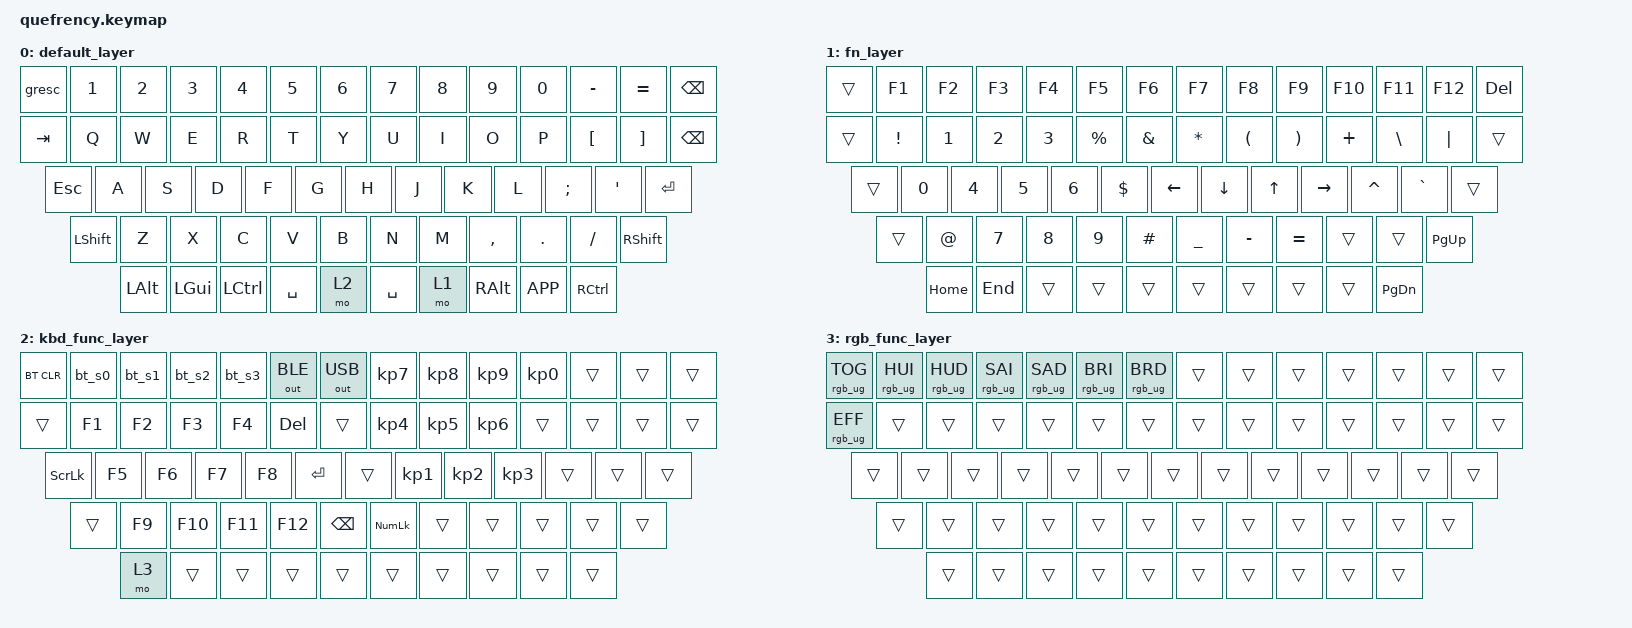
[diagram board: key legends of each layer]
/*
 * Copyright (c) 2020 The ZMK Contributors
 *
 * SPDX-License-Identifier: MIT
 */

#include <behaviors.dtsi>
#include <dt-bindings/zmk/rgb.h>
#include <dt-bindings/zmk/bt.h>
#include <dt-bindings/zmk/outputs.h>
#include <dt-bindings/zmk/ext_power.h>
#include <dt-bindings/zmk/keys.h>

/ {
    behaviors {
        gresc: grave_escape {
            label = "GRAVE_ESCAPE";
            compatible = "zmk,behavior-mod-morph";
            #binding-cells = <0>;
            bindings = <&kp ESC>, <&kp GRAVE>;
            mods = <(MOD_LGUI|MOD_LSFT|MOD_RGUI|MOD_RSFT)>;
        };
    };

    macros {
        kvm_s1: kvm_s1 {
            label = "kvm_s1";
            compatible = "zmk,behavior-macro";
            #binding-cells = <0>;
            tap-ms = <30>;
            bindings = <&macro_tap_time 150>, <&macro_tap &kp SLCK &kp SLCK &kp KP_N1>;
        };
        kvm_s2: kvm_s2 {
            label = "kvm_s2";
            compatible = "zmk,behavior-macro";
            #binding-cells = <0>;
            tap-ms = <30>;
            bindings = <&macro_tap_time 125>, <&macro_tap &kp SLCK &kp SLCK &kp KP_N2>;
        };
        kvm_s3: kvm_s3 {
            label = "kvm_s3";
            compatible = "zmk,behavior-macro";
            #binding-cells = <0>;
            tap-ms = <30>;
            bindings = <&macro_tap_time 75>, <&macro_tap &kp SLCK &kp SLCK &kp KP_N3>;
        };
        kvm_s4: kvm_s4 {
            label = "kvm_s4";
            compatible = "zmk,behavior-macro";
            #binding-cells = <0>;
            tap-ms = <30>;
            bindings = <&macro_tap_time 50>, <&macro_tap &kp SLCK &kp SLCK &kp KP_N4>;
        };
        bt_s0: bt_s0 {
            label = "bt_s0";
            compatible = "zmk,behavior-macro";
            #binding-cells = <0>;
            bindings = <&macro_tap &out OUT_BLE &bt BT_SEL 0>;
        };
        bt_s1: bt_s1 {
            label = "bt_s1";
            compatible = "zmk,behavior-macro";
            #binding-cells = <0>;
            bindings = <&macro_tap &out OUT_BLE &bt BT_SEL 1>;
        };
        bt_s2: bt_s2 {
            label = "bt_s2";
            compatible = "zmk,behavior-macro";
            #binding-cells = <0>;
            bindings = <&macro_tap &out OUT_BLE &bt BT_SEL 2>;
        };
        bt_s3: bt_s3 {
            label = "bt_s3";
            compatible = "zmk,behavior-macro";
            #binding-cells = <0>;
            bindings = <&macro_tap &out OUT_BLE &bt BT_SEL 3>;
        };
    };

    keymap {
        compatible = "zmk,keymap";

// ----------------------------------------------      -----------------------------------------------------
// | GESC |  1   |  2  |  3   |  4  |  5  |  6  |      |  7  |  8  |  9  |  0  |  -  |  =  |  BKSPC |
// | TAB   |  Q   |  W  |  E   |  R  |  T  |        |  Y  |  U  |  I  |  O  |  P  |  [  |  ]  |  \  |
// | ESC    |  A   |  S  |  D   |  F  |  G  |        |  H  |  J  |  K  |  L  |  ;  |  '  |   ENTER  |
// | SHIFT   |  Z   |  X  |  C  |  V   |  B  |        |  N  |  M  |  ,  |  .  |  /   |    RSHFT     |
// | LALT  | LGUI | LCTRL |   SPACE   | FN2  |        |    SPACE  |  FN  | RALT | RGUI | RCTRL |
// -------------------------------------------        ------------------------------------------------------

        default_layer {
            bindings = <
    &gresc   &kp N1   &kp N2   &kp N3   &kp N4   &kp N5  &kp N6 /**/   &kp N7    &kp N8   &kp N9    &kp N0    &kp MINUS &kp EQUAL &kp BSPC
    &kp TAB    &kp Q    &kp W    &kp E    &kp R    &kp T        /**/ &kp Y     &kp U    &kp I     &kp O     &kp P     &kp LBKT  &kp RBKT &kp BSPC
    &kp ESC     &kp A    &kp S    &kp D    &kp F  &kp G         /**/  &kp H     &kp J    &kp K     &kp L     &kp SEMI  &kp SQT   &kp RET
    &kp LSHFT     &kp Z    &kp X    &kp C    &kp V  &kp B       /**/    &kp N     &kp M    &kp COMMA &kp DOT   &kp FSLH  &kp RSHFT
    &kp LALT    &kp LGUI  &kp LCTRL      &kp SPACE     &mo 2    /**/ &kp SPACE &mo 1    &kp RALT  &kp K_APP  &kp RCTRL
            >;
        };


        fn_layer {
            bindings = <
    &trans     &kp F1     &kp F2   &kp F3    &kp F4   &kp F5    &kp F6   /**/   &kp F7   &kp F8   &kp F9   &kp F10   &kp F11 &kp F12     &kp DEL
    &trans      &kp EXCL   &kp N1   &kp N2    &kp N3   &kp PRCNT         /**/ &kp AMPS  &kp STAR &kp LPAR &kp RPAR  &kp PLUS  &kp BSLH  &kp PIPE  &trans
    &trans       &kp N0     &kp N4   &kp N5    &kp N6   &kp DLLR         /**/  &kp LEFT  &kp DOWN &kp UP   &kp RIGHT &kp CARET  &kp GRAVE  &trans
    &trans         &kp AT     &kp N7   &kp N8    &kp N9   &kp HASH       /**/    &kp UNDER &kp MINUS &kp EQUAL &trans  &trans  &kp PG_UP
    &kp HOME          &kp END     &trans             &trans      &trans  /**/    &trans        &trans &trans &trans  &kp PG_DN
            >;
        };

        kbd_func_layer {
            bindings = <
    &bt BT_CLR &bt_s0       &bt_s1       &bt_s2       &bt_s3       &out OUT_BLE &out OUT_USB /**/   &kp KP_N7 &kp KP_N8 &kp KP_N9 &kp KP_N0  &trans  &trans  &trans
    &trans      &kp F1   &kp F2     &kp F3       &kp F4       &kp DEL                        /**/ &trans &kp KP_N4 &kp KP_N5 &kp KP_N6  &trans  &trans  &trans &trans
    &kp SLCK      &kp F5       &kp F6       &kp F7       &kp F8    &kp RET                   /**/  &trans &kp KP_N1 &kp KP_N2 &kp KP_N3  &trans  &trans  &trans
    &trans           &kp F9       &kp F10     &kp F11      &kp F12    &kp BSPC               /**/     &kp KP_NUM &trans &trans &trans  &trans  &trans
    &mo 3             &trans         &trans           &trans              &trans             /**/    &trans        &trans &trans &trans  &trans
            >;
        };

//         kbd_func_layer {
//             bindings = <
//     &bt BT_CLR &bt_s0       &bt_s1       &bt_s2       &bt_s3       &out OUT_BLE &out OUT_USB /**/   &kp KP_N7 &kp KP_N8 &kp KP_N9 &kp KP_N0  &trans  &trans  &trans
//     &trans      &kp PG_UP &kp HOME   &kp UP      &kp END      &kp DEL                        /**/ &trans &kp KP_N4 &kp KP_N5 &kp KP_N6  &trans  &trans  &trans &trans
//     &kp SLCK      &kp PG_DOWN  &kp LEFT     &kp DOWN     &kp RIGHT &kp RET                   /**/  &trans &kp KP_N1 &kp KP_N2 &kp KP_N3  &trans  &trans  &trans
//     &trans           &trans       &trans      &trans       &trans     &kp BSPC               /**/     &kp KP_NUM &trans &trans &trans  &trans  &trans
//     &mo 3             &trans         &trans           &trans              &trans             /**/    &trans        &trans &trans &trans  &trans
//             >;
//         };

        rgb_func_layer {
            bindings = <
    &rgb_ug RGB_TOG &rgb_ug RGB_HUI  &rgb_ug RGB_HUD &rgb_ug RGB_SAI &rgb_ug RGB_SAD &rgb_ug RGB_BRI &rgb_ug RGB_BRD  /**/   &trans    &trans    &trans    &trans     &trans  &trans  &trans
    &rgb_ug RGB_EFF &trans   &trans     &trans       &trans       &trans                                              /**/ &trans &trans    &trans    &trans     &trans  &trans  &trans &trans
    &trans        &trans       &trans       &trans       &trans    &trans                                             /**/  &trans &trans    &trans    &trans     &trans  &trans  &trans
    &trans         &trans     &trans      &trans       &trans     &trans                                              /**/     &trans     &trans &trans &trans  &trans  &trans
    &trans            &trans         &trans           &trans              &trans                                      /**/    &trans        &trans &trans &trans  &trans
            >;
        };
    };
};

//// / {
////     keymap {
////         compatible = "zmk,keymap";
////
//// // ----------------------------------------------      -----------------------------------------------------
//// // | ESC  |  1   |  2  |  3   |  4  |  5  |  6  |      |  7  |  8  |  9  |  0  |  -  |  =  |  BKSPC |
//// // | TAB   |  Q   |  W  |  E   |  R  |  T  |        |  Y  |  U  |  I  |  O  |  P  |  [  |  ]  |  \  |
//// // | LCTRL  |  A   |  S  |  D   |  F  |  G  |        |  H  |  J  |  K  |  L  |  ;  |  '  |   ENTER  |
//// // | SHIFT   |  Z   |  X  |  C  |  V   |  B  |        |  N  |  M  |  ,  |  .  |  /  |    RSHFT
//// // | LCTRL   | LGUI | LALT |   SPACE   | FN  |        |    SPACE    | FN | RALT | RCTRL | LFT |
//// // -------------------------------------------        ------------------------------------------------------
////
////         default_layer {
////             bindings = <
////     &kp ESC   &kp N1   &kp N2   &kp N3   &kp N4 &kp N5 &kp N6 /**/   &kp N7    &kp N8   &kp N9    &kp N0    &kp MINUS &kp EQUAL &kp BSPC
////     &kp TAB    &kp Q    &kp W    &kp E    &kp R  &kp T        /**/ &kp Y     &kp U    &kp I     &kp O     &kp P     &kp LBKT  &kp RBKT &kp BSLH
////     &kp LCTRL   &kp A    &kp S    &kp D    &kp F  &kp G       /**/  &kp H     &kp J    &kp K     &kp L     &kp SEMI  &kp SQT   &kp RET
////     &kp LSHFT     &kp Z    &kp X    &kp C    &kp V  &kp B     /**/    &kp N     &kp M    &kp COMMA &kp DOT   &kp FSLH  &kp RSHFT
////     &kp LCTRL    &kp LGUI &kp LALT      &kp SPACE     &mo 1   /**/ &kp SPACE &mo 1    &kp RALT  &kp RGUI  &kp RCTRL
////             >;
////         };
////
//// // ----------------------------------------------     -----------------------------------------------------
//// // |BT_CLR|  F1  |  F2 |  F3  |  F4 |  F5 |  F6 |     |  F7 |  F8 |  F9 | F10 | F11 | F12 |        |BT_CLR|
//// // |       | BT-0 | BT-1| BT-2 |     |     |       |     |     |     |     |     |     |     |     |      |
//// // |        |      |     |      |     |     |       |     |     |     |     |     |     |          |      |
//// // |         |      |     |     |      |     |       |     |     |     |     |     |         |     |      |
//// // |         |      |      |           |     |       |             |      |    |       |     |     |      |
//// // -------------------------------------------       ------------------------------------------------------
////
////         fn_layer {
////             bindings = <
////     &bt BT_CLR &kp F1       &kp F2       &kp F3       &kp F4 &kp F5 &kp F6  /**/   &kp F7 &kp F8 &kp F9 &kp F10 &kp F11 &kp F12 &trans
////     &trans      &bt BT_SEL 0 &bt BT_SEL 1 &bt BT_SEL 2 &trans    &trans     /**/ &trans &trans &trans &trans  &trans  &trans  &trans &trans
////     &trans       &trans       &trans       &trans       &trans    &trans    /**/  &trans &trans &trans &trans  &trans  &trans  &trans
////     &trans         &trans       &trans       &trans       &trans     &trans /**/     &trans &trans &trans &trans  &trans  &trans
////     &trans          &tran       &trans           &trans              &trans /**/    &trans        &trans &trans &trans  &trans
////             >;
////         };
////     };
//// };

// /*
//  * Copyright (c) 2020 The ZMK Contributors
//  *
//  * SPDX-License-Identifier: MIT
//  */

// #include <behaviors.dtsi>
// #include <dt-bindings/zmk/bt.h>
// #include <dt-bindings/zmk/outputs.h>
// #include <dt-bindings/zmk/keys.h>
//
// / {
//     behaviors {
//         gresc: grave_escape {
//             compatible = "zmk,behavior-mod-morph";
//             label = "GRAVE_ESCAPE";
//             #binding-cells = <0>;
//             bindings = <&kp ESC>, <&kp GRAVE>;
//             mods = <(MOD_LGUI|MOD_LSFT|MOD_RGUI|MOD_RSFT)>;
//         };
//     };
//     macros {
//         bt_s0: bt_s0 {
//             label = "bt_s0";
//             compatible = "zmk,behavior-macro";
//             #binding-cells = <0>;
//             bindings = <&macro_tap &out OUT_BLE &bt BT_SEL 0>;
//         };
//         bt_s1: bt_s1 {
//             label = "bt_s1";
//             compatible = "zmk,behavior-macro";
//             #binding-cells = <0>;
//             bindings = <&macro_tap &out OUT_BLE &bt BT_SEL 1>;
//         };
//         bt_s2: bt_s2 {
//             label = "bt_s2";
//             compatible = "zmk,behavior-macro";
//             #binding-cells = <0>;
//             bindings = <&macro_tap &out OUT_BLE &bt BT_SEL 2>;
//         };
//         bt_s3: bt_s3 {
//             label = "bt_s3";
//             compatible = "zmk,behavior-macro";
//             #binding-cells = <0>;
//             bindings = <&macro_tap &out OUT_BLE &bt BT_SEL 3>;
//         };
//     };
//     keymap {
//         compatible = "zmk,keymap";
//
// // ----------------------------------------------      -----------------------------------------------------
// // | ESC  |  1   |  2  |  3   |  4  |  5  |  6  |      |  7  |  8  |  9  |  0  |  -  |  =  | BKSPC |
// // | TAB   |  Q   |  W  |  E   |  R  |  T  |        |  Y  |  U  |  I  |  O  |  P  |  [  |  ]  |  \ |
// // | LCTRL  |  A   |  S  |  D   |  F  |  G  |        |  H  |  J  |  K  |  L  |  ;  |  '  |   ENTER |
// // | SHIFT   |  Z   |  X  |  C   |  V   |  B  |        |  N  |  M  |  ,  |  .  |  /   |    RSHFT   |
// //   | LCTL | LGUI | LALT |    SPACE    | FN2 |        |   SPACE   |  FN  | RALT | MENU | RCTL |
// // -------------------------------------------        ------------------------------------------------------
//
//         default_layer {
//             bindings = <
//     &gresc   &kp N1   &kp N2   &kp N3   &kp N4 &kp N5 &kp N6 /**/   &kp N7    &kp N8   &kp N9    &kp N0    &kp MINUS &kp EQUAL &kp BSPC
//     &kp TAB    &kp Q    &kp W    &kp E    &kp R  &kp T        /**/ &kp Y     &kp U    &kp I     &kp O     &kp P     &kp LBKT  &kp RBKT &kp BSLH
//     &kp CAPS   &kp A    &kp S    &kp D    &kp F  &kp G         /**/  &kp H     &kp J    &kp K     &kp L     &kp SEMI  &kp SQT   &kp RET
//     &kp LSHFT     &kp Z    &kp X    &kp C    &kp V  &kp B     /**/    &kp N     &kp M    &kp COMMA &kp DOT   &kp FSLH  &kp RSHFT
//     &kp LCTRL    &kp LGUI  &kp LALT      &kp SPACE     &mo 2  /**/ &kp SPACE           &mo 1    &kp RALT  &kp K_APP  &kp RCTRL
//             >;
//         };
//
//
//         fn_layer {
//             bindings = <
//     &trans     &kp F1     &kp F2   &kp F3    &kp F4   &kp F5    &kp F6   /**/   &kp F7   &kp F8   &kp F9   &kp F10   &kp F11 &kp F12     &kp DEL
//     &trans      &trans     &kp N1   &kp N2    &kp N3   &trans            /**/ &trans    &kp HOME &kp UP &kp END  &kp PG_UP  &trans  &trans  &trans
//     &trans       &kp N0     &kp N4   &kp N5    &kp N6   &trans           /**/  &trans    &kp LEFT &kp DOWN   &kp RIGHT &kp PG_DN  &kp GRAVE  &trans
//     &trans         &trans     &kp N7   &kp N8    &kp N9   &trans         /**/    &trans   &trans   &trans    &trans     &trans     &trans
//     &trans            &trans      &trans             &trans      &trans  /**/    &trans        &trans &trans   &trans  &kp INS
//             >;
//         };
//
//         kbd_func_layer {
//             bindings = <
//     &bt BT_CLR &bt_s0       &bt_s1       &bt_s2       &bt_s3       &out OUT_BLE &out OUT_USB /**/   &kp KP_N7 &kp KP_N8 &kp KP_N9 &kp KP_N0  &trans  &trans  &trans
//     &kp SLCK    &kp F1   &kp F2     &kp F3       &kp F4       &kp DEL                       /**/ &trans &kp KP_N4 &kp KP_N5 &kp KP_N6  &trans  &trans  &trans &trans
//     &kp KP_NUM    &kp F5       &kp F6       &kp F7       &kp F8    &kp RET                   /**/  &trans &kp KP_N1 &kp KP_N2 &kp KP_N3  &trans  &trans  &trans
//     &trans           &kp F9       &kp F10     &kp F11      &kp F12    &kp BSPC               /**/     &trans &trans &trans &trans  &trans  &trans
//     &trans            &trans         &trans           &trans              &trans             /**/    &trans        &trans &trans &trans  &trans
//             >;
//         };
//     };
// };

//     kbd_func_layer_fkeys {
//         bindings = <
// &bt BT_CLR &bt_s0       &bt_s1       &bt_s2       &bt_s3       &out OUT_BLE &out OUT_USB /**/   &kp F7 &kp F8 &kp F9 &kp F10 &kp F11 &kp F12 &trans
// &kp CAPS    &kp F1   &kp F2     &kp F3       &kp F4       &kp DEL                       /**/ &trans &trans &trans &trans  &trans  &trans  &trans &trans
// &trans        &kp F5       &kp F6       &kp F7       &kp F8    &kp RET                   /**/  &trans &trans &trans &trans  &trans  &trans  &trans
// &kp SLCK         &kp F9       &kp F10     &kp F11      &kp F12    &kp BSPC               /**/     &trans &trans &trans &trans  &trans  &trans
// &trans            &trans         &trans           &trans              &trans             /**/    &trans        &trans &trans &trans  &trans
//         >;
//     };
